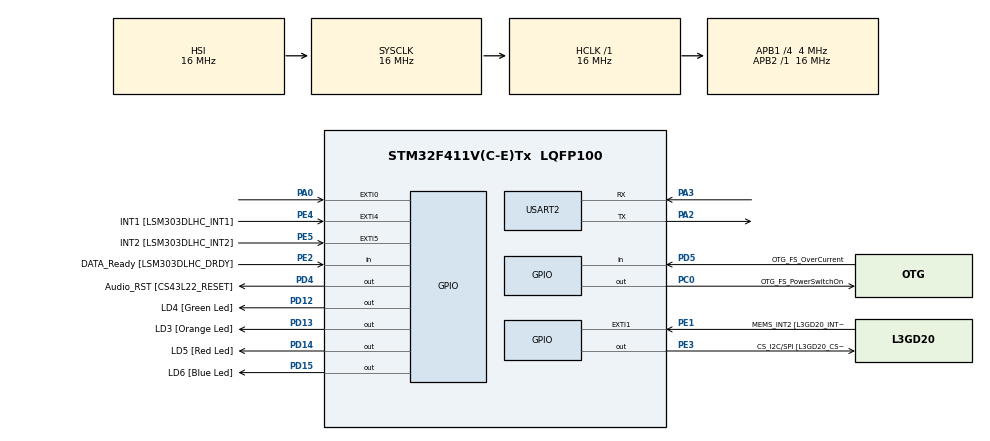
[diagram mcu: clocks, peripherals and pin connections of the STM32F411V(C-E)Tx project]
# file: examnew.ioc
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Mcu.Family=STM32F4
Mcu.Name=STM32F411V(C-E)Tx
Mcu.Package=LQFP100
NVIC.PriorityGroup=NVIC_PRIORITYGROUP_0
PA0-WKUP.GPIO_ModeDefaultEXTI=GPIO_MODE_EVT_RISING
PA0-WKUP.Signal=GPXTI0
PA10.GPIO_Label=OTG_FS_ID
PA10.Signal=USB_OTG_FS_ID
PA11.GPIO_Label=OTG_FS_DM
PA11.Signal=USB_OTG_FS_DM
PA12.GPIO_Label=OTG_FS_DP
PA12.Signal=USB_OTG_FS_DP
PA13.GPIO_Label=SWDIO
PA13.Mode=Serial_Wire
PA13.Signal=SYS_JTMS-SWDIO
PA14.GPIO_Label=SWCLK
PA14.Mode=Serial_Wire
PA14.Signal=SYS_JTCK-SWCLK
PA2.Mode=Asynchronous
PA2.Signal=USART2_TX
PA3.Mode=Asynchronous
PA3.Signal=USART2_RX
PA4.GPIO_Label=I2S3_WS [CS43L22_LRCK]
PA4.GPIO_Mode=GPIO_MODE_AF_PP
PA4.GPIO_PuPd=GPIO_NOPULL
PA4.GPIO_Speed=GPIO_SPEED_FREQ_LOW
PA4.Signal=I2S3_WS
PA5.GPIO_Label=SPI1_SCK [L3GD20_SC/SPC]
PA5.Signal=SPI1_SCK
PA6.GPIO_Label=SPI1_MISO [L3GD20_AS0/SDO]
PA6.Signal=SPI1_MISO
PA7.GPIO_Label=SPI1_MOSI [L3GD20_SDA/SDI/SDO]
PA7.Signal=SPI1_MOSI
PA9.GPIO_Label=VBUS_FS
PA9.Signal=USB_OTG_FS_VBUS
PB10.GPIO_Label=CLK_IN [MP45DT02_CLK]
PB10.Signal=I2S2_CK
PB12.Signal=I2S2_WS
PB3.GPIO_Label=SWO
PB3.Signal=SYS_JTDO-SWO
PB6.GPIO_Label=Audio_SCL [CS43L22_SCL]
PB6.GPIO_Mode=GPIO_MODE_AF_OD
PB6.GPIO_Pu=GPIO_PULLUP
PB6.GPIO_PuPd=GPIO_NOPULL
PB6.GPIO_Speed=GPIO_SPEED_FREQ_LOW
PB6.Signal=I2C1_SCL
PB9.GPIO_Label=Audio_SDA [CS43L22_SDA]
PB9.GPIO_Mode=GPIO_MODE_AF_OD
PB9.GPIO_Pu=GPIO_PULLUP
PB9.GPIO_PuPd=GPIO_NOPULL
PB9.GPIO_Speed=GPIO_SPEED_FREQ_LOW
PB9.Signal=I2C1_SDA
PC0.GPIO_Label=OTG_FS_PowerSwitchOn
PC0.PinState=GPIO_PIN_SET
PC0.Signal=GPIO_Output
PC10.GPIO_Label=I2S3_SCK [CS43L22_SCLK]
PC10.GPIO_Mode=GPIO_MODE_AF_PP
PC10.GPIO_PuPd=GPIO_NOPULL
PC10.GPIO_Speed=GPIO_SPEED_FREQ_LOW
PC10.Signal=I2S3_CK
PC12.GPIO_Label=I2S3_SD [CS43L22_SDIN]
PC12.GPIO_Mode=GPIO_MODE_AF_PP
PC12.GPIO_PuPd=GPIO_NOPULL
PC12.GPIO_Speed=GPIO_SPEED_FREQ_LOW
PC12.Signal=I2S3_SD
PC14-OSC32_IN.GPIO_Label=PC14-OSC32_IN
PC14-OSC32_IN.Mode=LSE-External-Oscillator
PC14-OSC32_IN.Signal=RCC_OSC32_IN
PC15-OSC32_OUT.GPIO_Label=PC15-OSC32_OUT
PC15-OSC32_OUT.Mode=LSE-External-Oscillator
PC15-OSC32_OUT.Signal=RCC_OSC32_OUT
PC3.GPIO_Label=PDM_OUT [MP45DT02_DOUT]
PC3.Signal=I2S2_SD
PC7.GPIO_Label=I2S3_MCK [CS43L22_MCLK]
PC7.GPIO_Mode=GPIO_MODE_AF_PP
PC7.GPIO_PuPd=GPIO_NOPULL
PC7.GPIO_Speed=GPIO_SPEED_FREQ_LOW
PC7.Signal=I2S3_MCK
PD12.GPIO_Label=LD4 [Green Led]
PD12.GPIO_PuPd=GPIO_NOPULL
PD12.GPIO_Speed=GPIO_SPEED_FREQ_LOW
PD12.Signal=GPIO_Output
PD13.GPIO_Label=LD3 [Orange Led]
PD13.GPIO_PuPd=GPIO_NOPULL
PD13.GPIO_Speed=GPIO_SPEED_FREQ_LOW
PD13.Signal=GPIO_Output
PD14.GPIO_Label=LD5 [Red Led]
PD14.GPIO_PuPd=GPIO_NOPULL
PD14.GPIO_Speed=GPIO_SPEED_FREQ_LOW
PD14.Signal=GPIO_Output
PD15.GPIO_Label=LD6 [Blue Led]
PD15.GPIO_PuPd=GPIO_NOPULL
PD15.GPIO_Speed=GPIO_SPEED_FREQ_LOW
PD15.Signal=GPIO_Output
PD4.GPIO_Label=Audio_RST [CS43L22_RESET]
PD4.Signal=GPIO_Output
PD5.GPIO_Label=OTG_FS_OverCurrent
PD5.Signal=GPIO_Input
PE1.GPIO_Label=MEMS_INT2 [L3GD20_INT2]
PE1.GPIO_ModeDefaultEXTI=GPIO_MODE_EVT_RISING
PE1.Signal=GPXTI1
PE2.GPIO_Label=DATA_Ready [LSM303DLHC_DRDY]
PE2.Signal=GPIO_Input
PE3.GPIO_Label=CS_I2C/SPI [L3GD20_CS_I2C/SPI]
PE3.Signal=GPIO_Output
PE4.GPIO_Label=INT1 [LSM303DLHC_INT1]
PE4.GPIO_ModeDefaultEXTI=GPIO_MODE_EVT_RISING
PE4.Signal=GPXTI4
PE5.GPIO_Label=INT2 [LSM303DLHC_INT2]
PE5.GPIO_ModeDefaultEXTI=GPIO_MODE_EVT_RISING
PE5.Signal=GPXTI5
PH0\ -\ OSC_IN.GPIO_Label=PH0-OSC_IN
PH0\ -\ OSC_IN.Mode=HSE-External-Clock-Source
PH0\ -\ OSC_IN.Signal=RCC_OSC_IN
PH1\ -\ OSC_OUT.GPIO_Label=PH1-OSC_OUT
PH1\ -\ OSC_OUT.Mode=HSE-External-Clock-Source
PH1\ -\ OSC_OUT.Signal=RCC_OSC_OUT
ProjectManager.HeapSize=0x200
ProjectManager.StackSize=0x400
ProjectManager.TargetToolchain=CMake
RCC.48MHZClocksFreq_Value=96000000
RCC.AHBFreq_Value=16000000
RCC.APB1CLKDivider=RCC_HCLK_DIV4
RCC.APB1Freq_Value=4000000
RCC.APB1TimFreq_Value=8000000
RCC.APB2Freq_Value=16000000
RCC.APB2TimFreq_Value=16000000
RCC.CortexFreq_Value=16000000
RCC.HCLKFreq_Value=16000000
RCC.HSE_VALUE=8000000
RCC.HSI_VALUE=16000000
RCC.PLLI2SM=5
RCC.PLLI2SN=200
RCC.PLLM=4
RCC.PLLP=RCC_PLLP_DIV4
RCC.PLLQ=8
RCC.SYSCLKFreq_VALUE=16000000
RCC.VCOOutputFreq_Value=768000000
USART2.VirtualMode=VM_ASYNC
board=STM32F411E-DISCO

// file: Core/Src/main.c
/* USER CODE BEGIN Header */
/**
  ******************************************************************************
  * @file           : main.c
  * @brief          : Main program body
  ******************************************************************************
  * @attention
  *
  * Copyright (c) 2024 STMicroelectronics.
  * All rights reserved.
  *
  * This software is licensed under terms that can be found in the LICENSE file
  * in the root directory of this software component.
  * If no LICENSE file comes with this software, it is provided AS-IS.
  *
  ******************************************************************************
  */
/* USER CODE END Header */
#include "main.h"
#include "stm32f4xx_hal_gpio.h"

#include <stdint.h>
#include "stm32f4xx.h"

/* USER CODE BEGIN Includes */
#include "prng.h"
/* USER CODE END Includes */

UART_HandleTypeDef huart2;

void SystemClock_Config(void);
static void MX_GPIO_Init(void);
static void MX_USART2_UART_Init(void);

/* USER CODE BEGIN 0 */

#define BUFFER_SIZE 1024

uint8_t rxBuffer[BUFFER_SIZE];
uint32_t rxIndex = 0;

static inline void to_hex(uint8_t* dest, uint32_t value) {
  static const uint8_t hex[] = "0123456789ABCDEF";
  for (int i = 0; i < 8; i++) {
    dest[7-i] = hex[(value >> (i * 4)) & 0xF];
  }
}

// curve parameters
const uint32_t A = 497;
const uint32_t B = 1768;
const uint32_t P = 9739;
const uint32_t Gx = 1804;
const uint32_t Gy = 5368;
// Group order
const uint32_t N = 9735;

typedef struct {
  uint32_t x;
  uint32_t y;
} ECPoint;

uint32_t modpow(uint32_t base, uint32_t exp, uint32_t mod) {
   // we are ok with 32 bit because P*P < 2^32
   uint32_t result = 1;
   uint32_t b = base;

   while (exp > 0) {
       if (exp & 1)
           result = (result * b) % mod;
       b = (b * b) % mod;
       exp >>= 1;
   }
   return result;
}
// compute modular inverse by using Fermat's little theorem since we work on a prime
// field, otherwise we would use the extended Euclidean algorithm
static inline uint32_t modinv(uint32_t a, uint32_t m) {
  return modpow(a, m - 2, m);
}

static inline ECPoint ec_add(ECPoint a, ECPoint b) {
  ECPoint result;
  uint32_t lambda;

  if (a.x == 0 && a.y == 0) {
    return b;
  }
  if (b.x == 0 && b.y == 0) {
    return a;
  }

  if (a.x == b.x && a.y == -b.y) {
    result.x = 0;
    result.y = 0;
    return result;
  }

  if (a.x == b.x && a.y == b.y) {
    lambda = ((3 * a.x * a.x + A) * modinv(2 * a.y, P)) % P;
  } else {
    lambda = ((b.y - a.y) * modinv(b.x - a.x, P)) % P;
  }
  result.x = (lambda * lambda - a.x - b.x) % P;
  result.y = (lambda * (a.x - result.x) - a.y) % P;
  return result;
}

static inline ECPoint ec_mul(uint32_t k, ECPoint p) {
  ECPoint result = {0, 0};
  for (int i = 0; i < 32; i++) {
    if (k & (1 << i)) {
      result = ec_add(result, p);
    }
    HAL_GPIO_WritePin(LD6_GPIO_Port, LD6_Pin, GPIO_PIN_SET); // Turn on the LED
    p = ec_add(p, p);
    HAL_GPIO_WritePin(LD6_GPIO_Port, LD6_Pin, GPIO_PIN_RESET); // Turn off the LED
  }
  return result;
}

/* USER CODE END 0 */

int main(void)
{

  /* MCU Configuration--------------------------------------------------------*/

  /* Reset of all peripherals, Initializes the Flash interface and the Systick. */
  HAL_Init();

  /* Configure the system clock */
  SystemClock_Config();

  /* Initialize all configured peripherals */
  MX_GPIO_Init();
  MX_USART2_UART_Init();
  /* USER CODE BEGIN 2 */

  initRand();

  /* USER CODE END 2 */

  /* Infinite loop */
  /* USER CODE BEGIN WHILE */
  const uint8_t prompt[] = "\r\n>";
  const uint8_t response[] = "\r\n:";
  uint8_t ffprint[8];

  while (1)
  {
    uint8_t rxByte;

    HAL_GPIO_WritePin(LD4_GPIO_Port, LD4_Pin, GPIO_PIN_SET); // Turn on the LED
    HAL_StatusTypeDef res = HAL_UART_Receive(&huart2, &rxByte, 1, HAL_MAX_DELAY);
    HAL_GPIO_WritePin(LD4_GPIO_Port, LD4_Pin, GPIO_PIN_RESET); // Turn on the LED

    if (res == HAL_OK) {
      HAL_GPIO_WritePin(LD5_GPIO_Port, LD5_Pin, GPIO_PIN_SET); // Turn on the LED

      switch (rxByte) {
        case '\b': // Backspace
          if (rxIndex > 0) {
            rxIndex--;
          }
          uint8_t backspace[] = "\b \b";
          HAL_UART_Transmit(&huart2, backspace, sizeof(backspace)-1, HAL_MAX_DELAY);
          break;
        case '\n':
        case '\r':
          rxIndex = 0;
          // create a random secret multiplier
          uint32_t secret = nextRand() % P;
          to_hex(ffprint, secret);
          // Clear the current line and move cursor to start
          HAL_UART_Transmit(&huart2, response, sizeof(response), HAL_MAX_DELAY);
          // Print the secret for debugging
          HAL_UART_Transmit(&huart2, ffprint, sizeof(ffprint), HAL_MAX_DELAY);

          ECPoint G = {Gx, Gy};
          ECPoint R = ec_mul(secret, G);

          to_hex(ffprint, R.x);
          // Clear the current line and move cursor to start
          HAL_UART_Transmit(&huart2, response, sizeof(response), HAL_MAX_DELAY);
          // Print the secret for debugging
          HAL_UART_Transmit(&huart2, ffprint, sizeof(ffprint), HAL_MAX_DELAY);

          to_hex(ffprint, R.y);
          // Clear the current line and move cursor to start
          HAL_UART_Transmit(&huart2, response, sizeof(response), HAL_MAX_DELAY);
          // Print the secret for debugging
          HAL_UART_Transmit(&huart2, ffprint, sizeof(ffprint), HAL_MAX_DELAY);

          // Clear the current line and move cursor to start
          HAL_UART_Transmit(&huart2, prompt, sizeof(prompt), HAL_MAX_DELAY);
          break;
        default:
          rxBuffer[rxIndex++] = rxByte;
          HAL_UART_Transmit(&huart2, &rxByte, 1, HAL_MAX_DELAY);
          break;
      }

      HAL_GPIO_WritePin(LD5_GPIO_Port, LD5_Pin, GPIO_PIN_RESET); // Turn off the LED
    }
    /* USER CODE END WHILE */

  }
}

void SystemClock_Config(void)
{
  RCC_OscInitTypeDef RCC_OscInitStruct = {0};
  RCC_ClkInitTypeDef RCC_ClkInitStruct = {0};

  /** Configure the main internal regulator output voltage
  */
  __HAL_RCC_PWR_CLK_ENABLE();
  __HAL_PWR_VOLTAGESCALING_CONFIG(PWR_REGULATOR_VOLTAGE_SCALE1);

  /** Initializes the RCC Oscillators according to the specified parameters
  * in the RCC_OscInitTypeDef structure.
  */
  RCC_OscInitStruct.OscillatorType = RCC_OSCILLATORTYPE_HSI;
  RCC_OscInitStruct.HSIState = RCC_HSI_ON;
  RCC_OscInitStruct.HSICalibrationValue = RCC_HSICALIBRATION_DEFAULT;
  RCC_OscInitStruct.PLL.PLLState = RCC_PLL_NONE;
  if (HAL_RCC_OscConfig(&RCC_OscInitStruct) != HAL_OK)
  {
    Error_Handler();
  }

  /** Initializes the CPU, AHB and APB buses clocks
  */
  RCC_ClkInitStruct.ClockType = RCC_CLOCKTYPE_HCLK|RCC_CLOCKTYPE_SYSCLK
                              |RCC_CLOCKTYPE_PCLK1|RCC_CLOCKTYPE_PCLK2;
  RCC_ClkInitStruct.SYSCLKSource = RCC_SYSCLKSOURCE_HSI;
  RCC_ClkInitStruct.AHBCLKDivider = RCC_SYSCLK_DIV1;
  RCC_ClkInitStruct.APB1CLKDivider = RCC_HCLK_DIV4;
  RCC_ClkInitStruct.APB2CLKDivider = RCC_HCLK_DIV1;

  if (HAL_RCC_ClockConfig(&RCC_ClkInitStruct, FLASH_LATENCY_0) != HAL_OK)
  {
    Error_Handler();
  }
}

static void MX_USART2_UART_Init(void)
{

  huart2.Instance = USART2;
  huart2.Init.BaudRate = 115200;
  huart2.Init.WordLength = UART_WORDLENGTH_8B;
  huart2.Init.StopBits = UART_STOPBITS_1;
  huart2.Init.Parity = UART_PARITY_NONE;
  huart2.Init.Mode = UART_MODE_TX_RX;
  huart2.Init.HwFlowCtl = UART_HWCONTROL_NONE;
  huart2.Init.OverSampling = UART_OVERSAMPLING_16;
  if (HAL_UART_Init(&huart2) != HAL_OK)
  {
    Error_Handler();
  }

}

static void MX_GPIO_Init(void)
{
  GPIO_InitTypeDef GPIO_InitStruct = {0};

  /* GPIO Ports Clock Enable */
  __HAL_RCC_GPIOE_CLK_ENABLE();
  __HAL_RCC_GPIOC_CLK_ENABLE();
  __HAL_RCC_GPIOH_CLK_ENABLE();
  __HAL_RCC_GPIOA_CLK_ENABLE();
  __HAL_RCC_GPIOB_CLK_ENABLE();
  __HAL_RCC_GPIOD_CLK_ENABLE();

  /*Configure GPIO pin Output Level */
  HAL_GPIO_WritePin(CS_I2C_SPI_GPIO_Port, CS_I2C_SPI_Pin, GPIO_PIN_RESET);

  /*Configure GPIO pin Output Level */
  HAL_GPIO_WritePin(OTG_FS_PowerSwitchOn_GPIO_Port, OTG_FS_PowerSwitchOn_Pin, GPIO_PIN_SET);

  /*Configure GPIO pin Output Level */
  HAL_GPIO_WritePin(GPIOD, LD4_Pin|LD3_Pin|LD5_Pin|LD6_Pin
                          |Audio_RST_Pin, GPIO_PIN_RESET);

  /*Configure GPIO pin : DATA_Ready_Pin */
  GPIO_InitStruct.Pin = DATA_Ready_Pin;
  GPIO_InitStruct.Mode = GPIO_MODE_INPUT;
  GPIO_InitStruct.Pull = GPIO_NOPULL;
  HAL_GPIO_Init(DATA_Ready_GPIO_Port, &GPIO_InitStruct);

  /*Configure GPIO pin : CS_I2C_SPI_Pin */
  GPIO_InitStruct.Pin = CS_I2C_SPI_Pin;
  GPIO_InitStruct.Mode = GPIO_MODE_OUTPUT_PP;
  GPIO_InitStruct.Pull = GPIO_NOPULL;
  GPIO_InitStruct.Speed = GPIO_SPEED_FREQ_LOW;
  HAL_GPIO_Init(CS_I2C_SPI_GPIO_Port, &GPIO_InitStruct);

  /*Configure GPIO pins : INT1_Pin INT2_Pin MEMS_INT2_Pin */
  GPIO_InitStruct.Pin = INT1_Pin|INT2_Pin|MEMS_INT2_Pin;
  GPIO_InitStruct.Mode = GPIO_MODE_EVT_RISING;
  GPIO_InitStruct.Pull = GPIO_NOPULL;
  HAL_GPIO_Init(GPIOE, &GPIO_InitStruct);

  /*Configure GPIO pin : OTG_FS_PowerSwitchOn_Pin */
  GPIO_InitStruct.Pin = OTG_FS_PowerSwitchOn_Pin;
  GPIO_InitStruct.Mode = GPIO_MODE_OUTPUT_PP;
  GPIO_InitStruct.Pull = GPIO_NOPULL;
  GPIO_InitStruct.Speed = GPIO_SPEED_FREQ_LOW;
  HAL_GPIO_Init(OTG_FS_PowerSwitchOn_GPIO_Port, &GPIO_InitStruct);

  /*Configure GPIO pin : PDM_OUT_Pin */
  GPIO_InitStruct.Pin = PDM_OUT_Pin;
  GPIO_InitStruct.Mode = GPIO_MODE_AF_PP;
  GPIO_InitStruct.Pull = GPIO_NOPULL;
  GPIO_InitStruct.Speed = GPIO_SPEED_FREQ_LOW;
  GPIO_InitStruct.Alternate = GPIO_AF5_SPI2;
  HAL_GPIO_Init(PDM_OUT_GPIO_Port, &GPIO_InitStruct);

  /*Configure GPIO pin : PA0 */
  GPIO_InitStruct.Pin = GPIO_PIN_0;
  GPIO_InitStruct.Mode = GPIO_MODE_EVT_RISING;
  GPIO_InitStruct.Pull = GPIO_NOPULL;
  HAL_GPIO_Init(GPIOA, &GPIO_InitStruct);

  /*Configure GPIO pin : I2S3_WS_Pin */
  GPIO_InitStruct.Pin = I2S3_WS_Pin;
  GPIO_InitStruct.Mode = GPIO_MODE_AF_PP;
  GPIO_InitStruct.Pull = GPIO_NOPULL;
  GPIO_InitStruct.Speed = GPIO_SPEED_FREQ_LOW;
  GPIO_InitStruct.Alternate = GPIO_AF6_SPI3;
  HAL_GPIO_Init(I2S3_WS_GPIO_Port, &GPIO_InitStruct);

  /*Configure GPIO pins : SPI1_SCK_Pin SPI1_MISO_Pin SPI1_MOSI_Pin */
  GPIO_InitStruct.Pin = SPI1_SCK_Pin|SPI1_MISO_Pin|SPI1_MOSI_Pin;
  GPIO_InitStruct.Mode = GPIO_MODE_AF_PP;
  GPIO_InitStruct.Pull = GPIO_NOPULL;
  GPIO_InitStruct.Speed = GPIO_SPEED_FREQ_VERY_HIGH;
  GPIO_InitStruct.Alternate = GPIO_AF5_SPI1;
  HAL_GPIO_Init(GPIOA, &GPIO_InitStruct);

  /*Configure GPIO pins : CLK_IN_Pin PB12 */
  GPIO_InitStruct.Pin = CLK_IN_Pin|GPIO_PIN_12;
  GPIO_InitStruct.Mode = GPIO_MODE_AF_PP;
  GPIO_InitStruct.Pull = GPIO_NOPULL;
  GPIO_InitStruct.Speed = GPIO_SPEED_FREQ_LOW;
  GPIO_InitStruct.Alternate = GPIO_AF5_SPI2;
  HAL_GPIO_Init(GPIOB, &GPIO_InitStruct);

  /*Configure GPIO pins : LD4_Pin LD3_Pin LD5_Pin LD6_Pin
                           Audio_RST_Pin */
  GPIO_InitStruct.Pin = LD4_Pin|LD3_Pin|LD5_Pin|LD6_Pin
                          |Audio_RST_Pin;
  GPIO_InitStruct.Mode = GPIO_MODE_OUTPUT_PP;
  GPIO_InitStruct.Pull = GPIO_NOPULL;
  GPIO_InitStruct.Speed = GPIO_SPEED_FREQ_LOW;
  HAL_GPIO_Init(GPIOD, &GPIO_InitStruct);

  /*Configure GPIO pins : I2S3_MCK_Pin I2S3_SCK_Pin I2S3_SD_Pin */
  GPIO_InitStruct.Pin = I2S3_MCK_Pin|I2S3_SCK_Pin|I2S3_SD_Pin;
  GPIO_InitStruct.Mode = GPIO_MODE_AF_PP;
  GPIO_InitStruct.Pull = GPIO_NOPULL;
  GPIO_InitStruct.Speed = GPIO_SPEED_FREQ_LOW;
  GPIO_InitStruct.Alternate = GPIO_AF6_SPI3;
  HAL_GPIO_Init(GPIOC, &GPIO_InitStruct);

  /*Configure GPIO pin : VBUS_FS_Pin */
  GPIO_InitStruct.Pin = VBUS_FS_Pin;
  GPIO_InitStruct.Mode = GPIO_MODE_INPUT;
  GPIO_InitStruct.Pull = GPIO_NOPULL;
  HAL_GPIO_Init(VBUS_FS_GPIO_Port, &GPIO_InitStruct);

  /*Configure GPIO pins : OTG_FS_ID_Pin OTG_FS_DM_Pin OTG_FS_DP_Pin */
  GPIO_InitStruct.Pin = OTG_FS_ID_Pin|OTG_FS_DM_Pin|OTG_FS_DP_Pin;
  GPIO_InitStruct.Mode = GPIO_MODE_AF_PP;
  GPIO_InitStruct.Pull = GPIO_NOPULL;
  GPIO_InitStruct.Speed = GPIO_SPEED_FREQ_VERY_HIGH;
  GPIO_InitStruct.Alternate = GPIO_AF10_OTG_FS;
  HAL_GPIO_Init(GPIOA, &GPIO_InitStruct);

  /*Configure GPIO pin : OTG_FS_OverCurrent_Pin */
  GPIO_InitStruct.Pin = OTG_FS_OverCurrent_Pin;
  GPIO_InitStruct.Mode = GPIO_MODE_INPUT;
  GPIO_InitStruct.Pull = GPIO_NOPULL;
  HAL_GPIO_Init(OTG_FS_OverCurrent_GPIO_Port, &GPIO_InitStruct);

  /*Configure GPIO pins : Audio_SCL_Pin Audio_SDA_Pin */
  GPIO_InitStruct.Pin = Audio_SCL_Pin|Audio_SDA_Pin;
  GPIO_InitStruct.Mode = GPIO_MODE_AF_OD;
  GPIO_InitStruct.Pull = GPIO_PULLUP;
  GPIO_InitStruct.Speed = GPIO_SPEED_FREQ_LOW;
  GPIO_InitStruct.Alternate = GPIO_AF4_I2C1;
  HAL_GPIO_Init(GPIOB, &GPIO_InitStruct);

}

void Error_Handler(void)
{
  /* USER CODE BEGIN Error_Handler_Debug */
  /* User can add his own implementation to report the HAL error return state */
  __disable_irq();
  while (1)
  {
    HAL_GPIO_TogglePin(LD3_GPIO_Port, LD3_Pin);  // Toggle a different LED to indicate error
    HAL_Delay(500);  // Fast blink to indicate error state
  }
  /* USER CODE END Error_Handler_Debug */
}
